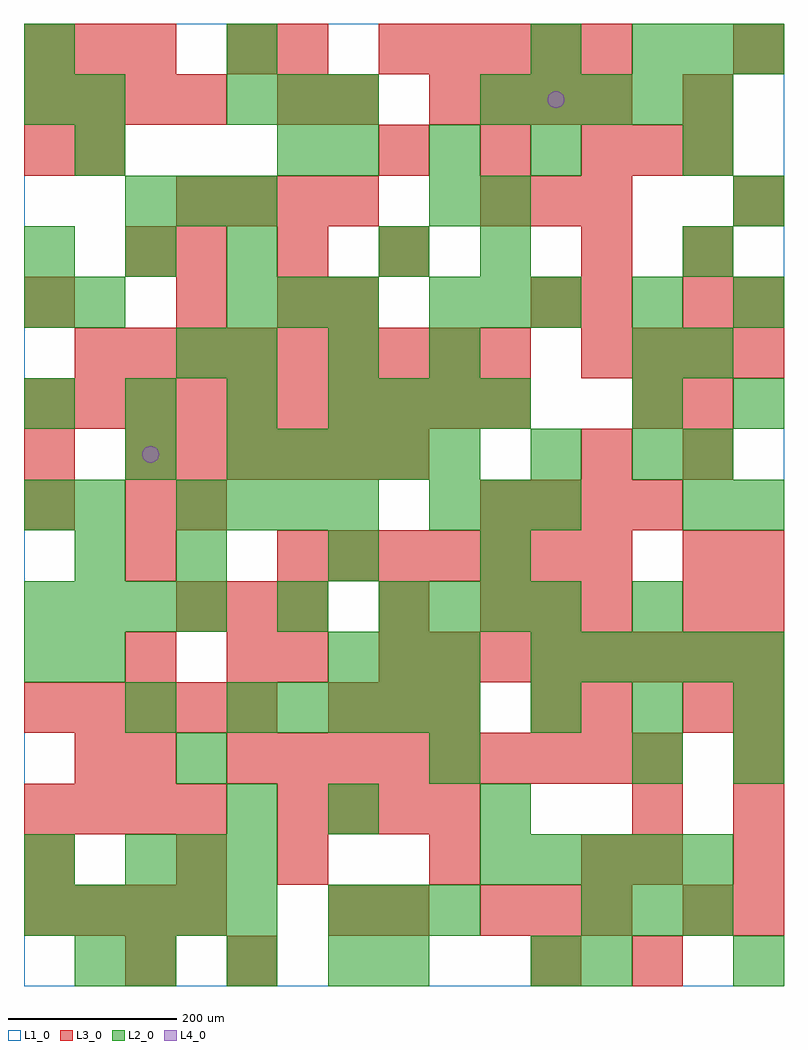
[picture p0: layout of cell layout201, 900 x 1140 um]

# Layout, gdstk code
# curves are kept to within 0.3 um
import gdstk
lib = gdstk.Library(unit=1e-6, precision=1e-09)
def R(c, l, rs):  # rectangles x0, y0, x1, y1
    for r in rs: c.add(gdstk.rectangle(r[:2], r[2:], *l))
def A(c, l, x, y, w, h, nx, ny, dx, dy):  # array of equal rectangles
    R(c, l, [(x+i*dx, y+j*dy, x+i*dx+w, y+j*dy+h) for i in range(nx) for j in range(ny)])
def P(c, l, *ps):  # polygons
    for p in ps: c.add(gdstk.Polygon(p, *l))
L1_0 = (1, 0)
L2_0 = (2, 0)
L3_0 = (3, 0)
L4_0 = (4, 0)

layout201 = lib.new_cell('layout201')
R(layout201, L1_0, [(0,0,900,1140)])
A(layout201, L2_0, 120, 0, 60, 60, 3, 1, 120, 0)
A(layout201, L2_0, 0, 60, 60, 60, 5, 1, 60, 0)
A(layout201, L2_0, 360, 60, 60, 60, 3, 2, 60, 300)
A(layout201, L2_0, 660, 60, 60, 60, 3, 1, 60, 0)
A(layout201, L2_0, 120, 120, 60, 60, 3, 2, 60, 780)
A(layout201, L2_0, 540, 120, 60, 60, 5, 2, 60, 900)
A(layout201, L2_0, 720, 240, 60, 60, 1, 3, 0, 180)
A(layout201, L2_0, 240, 300, 60, 60, 5, 2, 60, 300)
A(layout201, L2_0, 600, 300, 60, 60, 3, 1, 120, 0)
A(layout201, L2_0, 600, 360, 60, 60, 5, 1, 60, 0)
A(layout201, L2_0, 0, 420, 60, 60, 4, 1, 60, 0)
A(layout201, L2_0, 420, 420, 60, 60, 4, 1, 60, 0)
A(layout201, L2_0, 180, 480, 60, 60, 3, 1, 180, 0)
A(layout201, L2_0, 0, 540, 60, 60, 1, 3, 0, 240)
A(layout201, L2_0, 180, 540, 60, 60, 4, 1, 60, 0)
A(layout201, L2_0, 480, 540, 60, 60, 3, 2, 60, 240)
A(layout201, L2_0, 840, 540, 60, 60, 1, 4, 0, 120)
A(layout201, L2_0, 780, 600, 60, 60, 1, 4, 0, 120)
A(layout201, L2_0, 0, 660, 60, 60, 4, 1, 120, 0)
A(layout201, L2_0, 420, 660, 60, 60, 3, 1, 60, 0)
A(layout201, L2_0, 720, 660, 60, 60, 1, 3, 0, 60)
A(layout201, L2_0, 240, 720, 60, 60, 3, 1, 120, 0)
A(layout201, L2_0, 240, 780, 60, 60, 3, 2, 60, 240)
A(layout201, L2_0, 0, 840, 60, 60, 3, 1, 120, 0)
A(layout201, L2_0, 360, 960, 60, 60, 3, 1, 120, 0)
A(layout201, L2_0, 720, 1080, 60, 60, 3, 1, 60, 0)
R(layout201, L2_0, [(60,0,120,60), (420,0,480,60), (600,0,660,60), (660,0,720,60), (840,0,900,60), (0,120,60,180), (240,180,300,240), (360,180,420,240), (540,180,600,240), (180,240,240,300), (480,240,540,300), (840,240,900,300), (120,300,180,360), (0,360,60,420), (60,360,120,420), (300,420,360,480), (60,480,120,540), (60,540,120,600), (780,540,840,600), (120,600,180,660), (600,600,660,660), (180,720,240,780), (60,780,120,840), (420,840,480,900), (540,840,600,900), (480,900,540,960), (540,900,600,960), (60,960,120,1020), (300,960,360,1020), (60,1020,120,1080), (0,1080,60,1140), (240,1080,300,1140), (600,1080,660,1140)])
A(layout201, L3_0, 0, 60, 60, 60, 4, 2, 60, 120)
A(layout201, L3_0, 540, 60, 60, 60, 3, 2, 60, 360)
A(layout201, L3_0, 840, 60, 60, 60, 1, 5, 0, 60)
A(layout201, L3_0, 300, 120, 60, 60, 3, 1, 180, 0)
A(layout201, L3_0, 300, 180, 60, 60, 4, 1, 60, 0)
A(layout201, L3_0, 120, 240, 60, 60, 1, 3, 0, 120)
A(layout201, L3_0, 240, 240, 60, 60, 9, 1, 60, 0)
A(layout201, L3_0, 0, 300, 60, 60, 5, 1, 60, 0)
A(layout201, L3_0, 360, 300, 60, 60, 3, 1, 60, 0)
A(layout201, L3_0, 420, 360, 60, 60, 8, 1, 60, 0)
A(layout201, L3_0, 180, 420, 60, 60, 3, 1, 60, 0)
A(layout201, L3_0, 300, 480, 60, 60, 7, 1, 60, 0)
A(layout201, L3_0, 540, 540, 60, 60, 4, 1, 60, 0)
A(layout201, L3_0, 0, 600, 60, 60, 1, 3, 0, 180)
A(layout201, L3_0, 120, 600, 60, 60, 6, 1, 60, 0)
A(layout201, L3_0, 0, 660, 60, 60, 10, 1, 60, 0)
A(layout201, L3_0, 60, 720, 60, 60, 9, 1, 60, 0)
A(layout201, L3_0, 660, 720, 60, 60, 4, 1, 60, 0)
A(layout201, L3_0, 180, 840, 60, 60, 3, 1, 120, 0)
A(layout201, L3_0, 180, 900, 60, 60, 4, 1, 60, 0)
A(layout201, L3_0, 540, 900, 60, 60, 3, 1, 60, 0)
A(layout201, L3_0, 420, 960, 60, 60, 3, 1, 120, 0)
A(layout201, L3_0, 0, 1020, 60, 60, 4, 1, 60, 0)
A(layout201, L3_0, 480, 1020, 60, 60, 4, 1, 60, 0)
A(layout201, L3_0, 0, 1080, 60, 60, 3, 1, 60, 0)
A(layout201, L3_0, 420, 1080, 60, 60, 5, 1, 60, 0)
R(layout201, L3_0, [(120,0,180,60), (240,0,300,60), (600,0,660,60), (720,0,780,60), (360,60,420,120), (420,60,480,120), (780,60,840,120), (0,120,60,180), (180,120,240,180), (720,120,780,180), (720,180,780,240), (60,240,120,300), (600,300,660,360), (660,300,720,360), (780,300,840,360), (240,360,300,420), (300,360,360,420), (420,420,480,480), (780,420,840,480), (840,420,900,480), (780,480,840,540), (840,480,900,540), (0,540,60,600), (120,540,180,600), (180,540,240,600), (660,600,720,660), (780,600,840,660), (720,660,780,720), (780,660,840,720), (180,780,240,840), (300,780,360,840), (360,780,420,840), (600,780,660,840), (660,780,720,840), (780,780,840,840), (840,780,900,840), (120,840,180,900), (660,840,720,900), (780,840,840,900), (840,900,900,960), (60,960,120,1020), (720,960,780,1020), (780,960,840,1020), (300,1020,360,1080), (360,1020,420,1080), (780,1020,840,1080), (240,1080,300,1140), (300,1080,360,1140), (840,1080,900,1140)])
P(layout201, L4_0, [(160,630),(159.239,633.827),(157.071,637.071),(153.827,639.239),(150,640),(146.173,639.239),(142.929,637.071),(140.761,633.827),(140,630),(140.761,626.173),(142.929,622.929),(146.173,620.761),(150,620),(153.827,620.761),(157.071,622.929),(159.239,626.173)],
  [(640,1050),(639.239,1053.827),(637.071,1057.071),(633.827,1059.239),(630,1060),(626.173,1059.239),(622.929,1057.071),(620.761,1053.827),(620,1050),(620.761,1046.173),(622.929,1042.929),(626.173,1040.761),(630,1040),(633.827,1040.761),(637.071,1042.929),(639.239,1046.173)])

lib.write_gds('layout201.gds')
